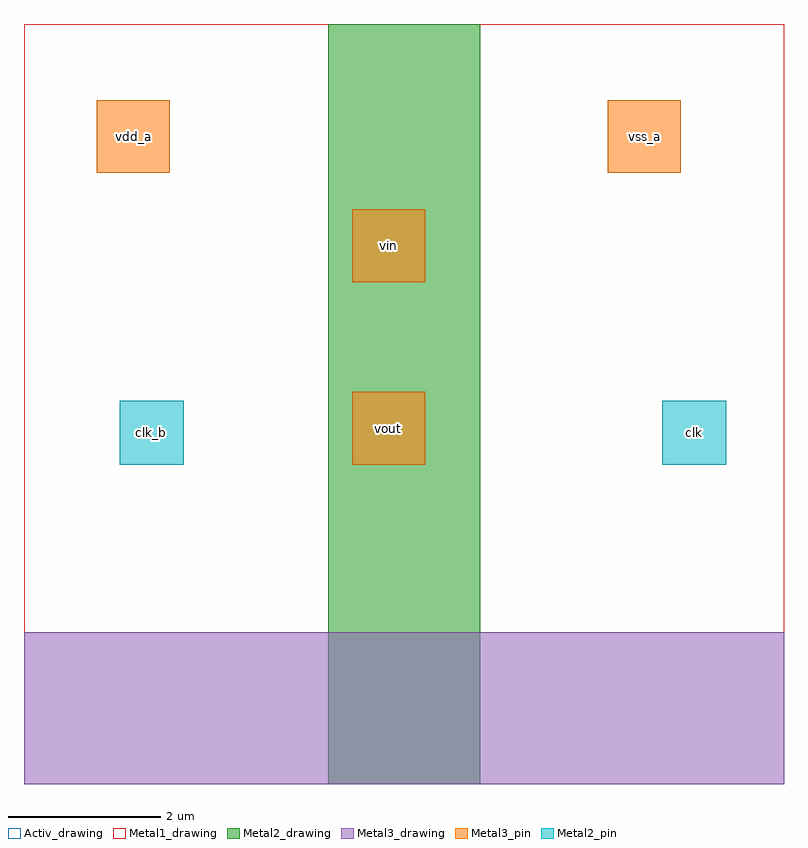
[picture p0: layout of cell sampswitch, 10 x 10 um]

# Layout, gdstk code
import gdstk
lib = gdstk.Library(unit=1e-6, precision=1e-09)
def R(c, l, rs):  # rectangles x0, y0, x1, y1
    for r in rs: c.add(gdstk.rectangle(r[:2], r[2:], *l))
Activ_drawing = (1, 0)
Metal1_drawing = (8, 0)
Metal2_drawing = (10, 0)
Metal2_pin = (10, 2)
Metal3_drawing = (30, 0)
Metal3_pin = (30, 2)

sampswitch = lib.new_cell('sampswitch')
R(sampswitch, Activ_drawing, [(0,0,10,10)])
R(sampswitch, Metal1_drawing, [(0,0,10,10)])
R(sampswitch, Metal2_drawing, [(4,0,6,10)])
R(sampswitch, Metal2_pin, [(1.26,4.2,2.1,5.04), (8.4,4.2,9.24,5.04)])
R(sampswitch, Metal3_drawing, [(0,0,10,2)])
R(sampswitch, Metal3_pin, [(4.32,4.2,5.28,5.16), (4.32,6.6,5.28,7.56), (0.96,8.04,1.92,9), (7.68,8.04,8.64,9)])
sampswitch.add(gdstk.Label('clk', (8.82,4.62), layer=10, texttype=1))
sampswitch.add(gdstk.Label('clk_b', (1.68,4.62), layer=10, texttype=1))
sampswitch.add(gdstk.Label('vin', (4.8,7.08), layer=30, texttype=1))
sampswitch.add(gdstk.Label('vout', (4.8,4.68), layer=30, texttype=1))
sampswitch.add(gdstk.Label('vdd_a', (1.44,8.52), layer=30, texttype=1))
sampswitch.add(gdstk.Label('vss_a', (8.16,8.52), layer=30, texttype=1))

lib.write_gds('sampswitch.gds')
